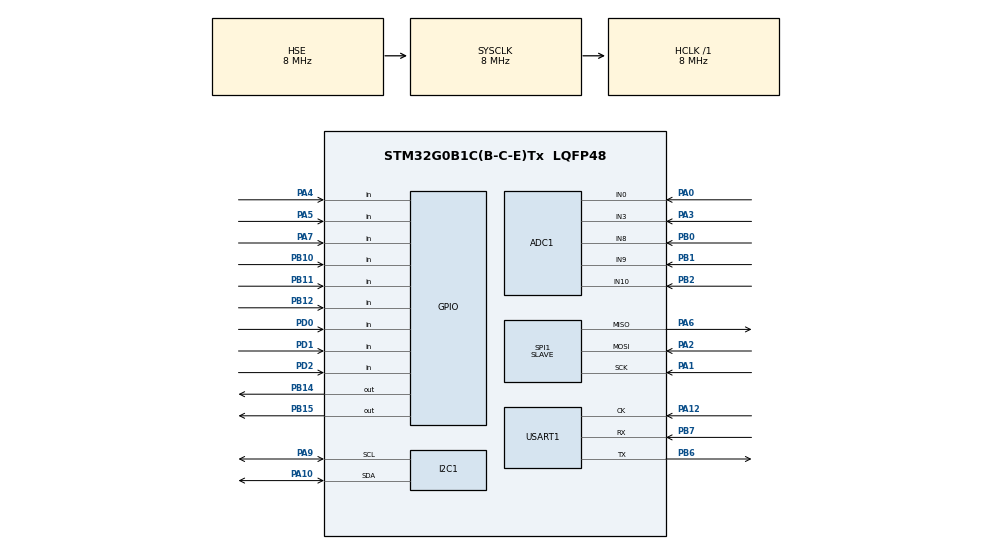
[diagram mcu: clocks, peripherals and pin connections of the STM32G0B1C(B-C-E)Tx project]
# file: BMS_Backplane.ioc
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ADC1.Channel-0\#ChannelRegularConversion=ADC_CHANNEL_0
ADC1.NbrOfConversionFlag=1
ADC1.Rank-0\#ChannelRegularConversion=1
ADC1.SamplingTime-0\#ChannelRegularConversion=ADC_SAMPLINGTIME_COMMON_1
ADC1.SelectedChannel=ADC_CHANNEL_0|ADC_CHANNEL_3|ADC_CHANNEL_8|ADC_CHANNEL_9|ADC_CHANNEL_10
ADC1.master=1
I2C1.Timing=0x00201D2B
Mcu.Family=STM32G0
Mcu.Name=STM32G0B1C(B-C-E)Tx
Mcu.Package=LQFP48
PA0.Mode=IN0
PA0.Signal=ADC1_IN0
PA1.Mode=Full_Duplex_Slave
PA1.Signal=SPI1_SCK
PA10.Mode=I2C
PA10.Signal=I2C1_SDA
PA12\ [PA10].Mode=Synchronous Slave
PA12\ [PA10].Signal=USART1_CK
PA13.Mode=Serial_Wire
PA13.Signal=SYS_SWDIO
PA14-BOOT0.Mode=Serial_Wire
PA14-BOOT0.Signal=SYS_SWCLK
PA2.Mode=Full_Duplex_Slave
PA2.Signal=SPI1_MOSI
PA3.Mode=IN3
PA3.Signal=ADC1_IN3
PA4.Signal=GPIO_Input
PA5.Signal=GPIO_Input
PA6.Mode=Full_Duplex_Slave
PA6.Signal=SPI1_MISO
PA7.Signal=GPIO_Input
PA9.Mode=I2C
PA9.Signal=I2C1_SCL
PB0.Mode=IN8
PB0.Signal=ADC1_IN8
PB1.Mode=IN9
PB1.Signal=ADC1_IN9
PB10.Signal=GPIO_Input
PB11.Signal=GPIO_Input
PB12.Signal=GPIO_Input
PB14.Signal=GPIO_Output
PB15.Signal=GPIO_Output
PB2.Mode=IN10
PB2.Signal=ADC1_IN10
PB6.Mode=Synchronous Slave
PB6.Signal=USART1_TX
PB7.Mode=Synchronous Slave
PB7.Signal=USART1_RX
PC14-OSC32_IN\ (PC14).Mode=LSE-External-Oscillator
PC14-OSC32_IN\ (PC14).Signal=RCC_OSC32_IN
PC15-OSC32_OUT\ (PC15).Mode=LSE-External-Oscillator
PC15-OSC32_OUT\ (PC15).Signal=RCC_OSC32_OUT
PD0.Signal=GPIO_Input
PD1.Signal=GPIO_Input
PD2.Signal=GPIO_Input
PF0-OSC_IN\ (PF0).Mode=HSE-External-Oscillator
PF0-OSC_IN\ (PF0).Signal=RCC_OSC_IN
PF1-OSC_OUT\ (PF1).Mode=HSE-External-Oscillator
PF1-OSC_OUT\ (PF1).Signal=RCC_OSC_OUT
ProjectManager.HeapSize=0x200
ProjectManager.StackSize=0x400
ProjectManager.TargetToolchain=STM32CubeIDE
RCC.ADCFreq_Value=8000000
RCC.AHBFreq_Value=8000000
RCC.CortexFreq_Value=8000000
RCC.EXTERNAL_CLOCK_VALUE=48000
RCC.EnbaleCSS=true
RCC.HCLKFreq_Value=8000000
RCC.HSE_VALUE=8000000
RCC.HSI48_VALUE=48000000
RCC.HSI_VALUE=16000000
RCC.RTCClockSelection=RCC_RTCCLKSOURCE_LSE
RCC.SYSCLKFreq_VALUE=8000000
RCC.SYSCLKSource=RCC_SYSCLKSOURCE_HSE
RCC.USBFreq_Value=48000000
RCC.VCOOutputFreq_Value=128000000
SPI1.Direction=SPI_DIRECTION_2LINES
SPI1.Mode=SPI_MODE_SLAVE
SPI1.VirtualType=VM_SLAVE
USART1.VirtualMode-Synchronous\ Slave=VM_SYNC
VP_RTC_VS_RTC_Activate.Mode=RTC_Enabled
VP_SYS_VS_DBSignals.Mode=DisableDeadBatterySignals
VP_TIM7_VS_ClockSourceINT.Mode=Enable_Timer
board=custom

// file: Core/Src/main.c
/* USER CODE BEGIN Header */
/**
  ******************************************************************************
  * @file           : main.c
  * @brief          : Main program body
  ******************************************************************************
  * @attention
  *
  * Copyright (c) 2026 STMicroelectronics.
  * All rights reserved.
  *
  * This software is licensed under terms that can be found in the LICENSE file
  * in the root directory of this software component.
  * If no LICENSE file comes with this software, it is provided AS-IS.
  *
  ******************************************************************************
  */
/* USER CODE END Header */
#include "main.h"

/* USER CODE BEGIN Includes */
#include "bq76925.h"
#include <stdbool.h>

#include "../../Drivers/Components/tmsc1108/tmcs1108.h"
/* USER CODE END Includes */

/* USER CODE BEGIN PTD */
typedef enum {
  ACQUIRE = 0,
  PROCESS_I,
  PROCESS_V,
} state_t;
/* USER CODE END PTD */

/* USER CODE BEGIN PD */
/* Main loop pacing */
#define MAIN_THREAD_HZ             5U
#define MAIN_THREAD_PERIOD_MS      (1000U / MAIN_THREAD_HZ)

/* ADC setup:
   Your current CubeMX-generated ADC is configured for a single channel.
   If you later enable scan/DMA or add more channels, update these. */
#define ADC_CHANNEL_SIZE           1U
#define HALL_CURRENT_INDEX         0U

/* Optional safety timer */
#define TIMER_EXPIRATION_SECONDS   3600U

/* TODO: set your real BQ76925 7-bit I2C address (left-shifted or not depends on your driver).
   If your driver expects 8-bit address, use (addr<<1). */
#define BQ76925_I2C_GROUP_ADDR      0x0U   //change
/* USER CODE END PD */

ADC_HandleTypeDef hadc1;

I2C_HandleTypeDef hi2c1;

RTC_HandleTypeDef hrtc;

SPI_HandleTypeDef hspi1;

TIM_HandleTypeDef htim7;

USART_HandleTypeDef husart1;

/* USER CODE BEGIN PV */
BQ76925  bq;
TMCS1108 hall;

static volatile uint32_t timer_counter = 0;
static volatile uint8_t  timer_expired_flag = 0;

static uint16_t adc_buffer[ADC_CHANNEL_SIZE] = {0};
/* USER CODE END PV */

void SystemClock_Config(void);
static void MX_GPIO_Init(void);
static void MX_ADC1_Init(void);
static void MX_I2C1_Init(void);
static void MX_USART1_Init(void);
static void MX_RTC_Init(void);
static void MX_TIM7_Init(void);
static void MX_SPI1_Init(void);
/* USER CODE BEGIN PFP */
static uint16_t ReadAdcOnce(void);
static void FailSafe_Shutdown(void);
/* USER CODE END PFP */

/* USER CODE BEGIN 0 */
/* USER CODE BEGIN 0 */
static uint16_t ReadAdcOnce(void)
{
  HAL_ADC_Start(&hadc1);
  HAL_ADC_PollForConversion(&hadc1, HAL_MAX_DELAY);
  uint16_t v = (uint16_t)HAL_ADC_GetValue(&hadc1);
  HAL_ADC_Stop(&hadc1);
  return v;
}

static void FailSafe_Shutdown(void)
{
  TURN_OFF_POWER();
  TURN_ON_STATUS_LED();
}
/* USER CODE END 0 */

int main(void)
{

  /* MCU Configuration--------------------------------------------------------*/

  /* Reset of all peripherals, Initializes the Flash interface and the Systick. */
  HAL_Init();

  /* Configure the system clock */
  SystemClock_Config();

  /* Initialize all configured peripherals */
  MX_GPIO_Init();
  MX_ADC1_Init();
  MX_I2C1_Init();
  MX_USART1_Init();
  MX_RTC_Init();
  MX_TIM7_Init();
  MX_SPI1_Init();
  /* USER CODE BEGIN 2 */
  /* Boot safe states */
   TURN_OFF_STATUS_LED();
   TURN_OFF_POWER();

   /* ADC calibration (STM32G0 family supports it) */
   (void)HAL_ADCEx_Calibration_Start(&hadc1);

   /* Start optional safety timer */
   (void)HAL_TIM_Base_Start_IT(&htim7);

   /* Initialize BQ76925 (I2C) */
   bq.hi2c = &hi2c1;
   bq.i2c_addr = BQ76925_I2C_ADDR_7BIT; /* your driver may want (addr<<1) */
   (void)BQ76925_Init(&bq);             /* or config_BQ76925(&bq, &hi2c1) */

   /* Initialize hall current sensor scaling */
   configure_TMCS1108(&hall, A4_VOLTAGE_CURRENT_SLOPE);

   /* Once comms/sensors are up, enable power rail */
   TURN_ON_POWER();

   state_t state = ACQUIRE;
   uint32_t last_tick = HAL_GetTick();
  /* USER CODE END 2 */

  /* Infinite loop */
  while (1)
  {

    /* USER CODE BEGIN 3 */
	  if ((HAL_GetTick() - last_tick) < MAIN_THREAD_PERIOD_MS) {
	        continue;
	      }
	      last_tick = HAL_GetTick();

	      /* Safety timeout */
	      if (timer_expired_flag) {
	        FailSafe_Shutdown();
	        continue;
	      }

	      /* If you want to hard-trip on an overcurrent alert pin:
	         NOTE: you must confirm active level (HIGH vs LOW) from your schematic.
	         Example (active-high):
	         if (READ_OVERCURRENT_ALERT() == GPIO_PIN_SET) { FailSafe_Shutdown(); continue; }
	      */

	      switch (state)
	      {
	        case ACQUIRE:
	          /* Acquire hall sensor ADC (single channel) */
	          adc_buffer[HALL_CURRENT_INDEX] = ReadAdcOnce();

	          /* Poll/update BQ state */
	          (void)BQ76925_Update(&bq);  /* or update_BQ76925(&bq) */

	          state = PROCESS_I;
	          break;

	        case PROCESS_I:
	          update_TMCS1108(&hall, adc_buffer[HALL_CURRENT_INDEX]);

	          if (hall.OC_flag) {
	            FailSafe_Shutdown();
	            break;
	          }

	          state = PROCESS_V;
	          break;

	        case PROCESS_V:
	          undervoltage_check(&bq);

	          if (bq.UV_flag) {
	            FailSafe_Shutdown();
	            break;
	          }

	          state = ACQUIRE;
	          break;

	        default:
	          state = ACQUIRE;
	          break;
	      }
  }
  /* USER CODE END 3 */
}

void SystemClock_Config(void)
{
  RCC_OscInitTypeDef RCC_OscInitStruct = {0};
  RCC_ClkInitTypeDef RCC_ClkInitStruct = {0};

  /** Configure the main internal regulator output voltage
  */
  HAL_PWREx_ControlVoltageScaling(PWR_REGULATOR_VOLTAGE_SCALE1);

  /** Configure LSE Drive Capability
  */
  HAL_PWR_EnableBkUpAccess();
  __HAL_RCC_LSEDRIVE_CONFIG(RCC_LSEDRIVE_LOW);

  /** Initializes the RCC Oscillators according to the specified parameters
  * in the RCC_OscInitTypeDef structure.
  */
  RCC_OscInitStruct.OscillatorType = RCC_OSCILLATORTYPE_HSE|RCC_OSCILLATORTYPE_LSE;
  RCC_OscInitStruct.HSEState = RCC_HSE_ON;
  RCC_OscInitStruct.LSEState = RCC_LSE_ON;
  RCC_OscInitStruct.PLL.PLLState = RCC_PLL_NONE;
  if (HAL_RCC_OscConfig(&RCC_OscInitStruct) != HAL_OK)
  {
    Error_Handler();
  }

  /** Initializes the CPU, AHB and APB buses clocks
  */
  RCC_ClkInitStruct.ClockType = RCC_CLOCKTYPE_HCLK|RCC_CLOCKTYPE_SYSCLK
                              |RCC_CLOCKTYPE_PCLK1;
  RCC_ClkInitStruct.SYSCLKSource = RCC_SYSCLKSOURCE_HSE;
  RCC_ClkInitStruct.AHBCLKDivider = RCC_SYSCLK_DIV1;
  RCC_ClkInitStruct.APB1CLKDivider = RCC_HCLK_DIV1;

  if (HAL_RCC_ClockConfig(&RCC_ClkInitStruct, FLASH_LATENCY_0) != HAL_OK)
  {
    Error_Handler();
  }

  /** Enables the Clock Security System
  */
  HAL_RCC_EnableCSS();
}

static void MX_ADC1_Init(void)
{

  ADC_ChannelConfTypeDef sConfig = {0};

  /** Configure the global features of the ADC (Clock, Resolution, Data Alignment and number of conversion)
  */
  hadc1.Instance = ADC1;
  hadc1.Init.ClockPrescaler = ADC_CLOCK_SYNC_PCLK_DIV2;
  hadc1.Init.Resolution = ADC_RESOLUTION_12B;
  hadc1.Init.DataAlign = ADC_DATAALIGN_RIGHT;
  hadc1.Init.ScanConvMode = ADC_SCAN_DISABLE;
  hadc1.Init.EOCSelection = ADC_EOC_SINGLE_CONV;
  hadc1.Init.LowPowerAutoWait = DISABLE;
  hadc1.Init.LowPowerAutoPowerOff = DISABLE;
  hadc1.Init.ContinuousConvMode = DISABLE;
  hadc1.Init.NbrOfConversion = 1;
  hadc1.Init.DiscontinuousConvMode = DISABLE;
  hadc1.Init.ExternalTrigConv = ADC_SOFTWARE_START;
  hadc1.Init.ExternalTrigConvEdge = ADC_EXTERNALTRIGCONVEDGE_NONE;
  hadc1.Init.DMAContinuousRequests = DISABLE;
  hadc1.Init.Overrun = ADC_OVR_DATA_PRESERVED;
  hadc1.Init.SamplingTimeCommon1 = ADC_SAMPLETIME_1CYCLE_5;
  hadc1.Init.SamplingTimeCommon2 = ADC_SAMPLETIME_1CYCLE_5;
  hadc1.Init.OversamplingMode = DISABLE;
  hadc1.Init.TriggerFrequencyMode = ADC_TRIGGER_FREQ_HIGH;
  if (HAL_ADC_Init(&hadc1) != HAL_OK)
  {
    Error_Handler();
  }

  /** Configure Regular Channel
  */
  sConfig.Channel = ADC_CHANNEL_0;
  sConfig.Rank = ADC_REGULAR_RANK_1;
  sConfig.SamplingTime = ADC_SAMPLINGTIME_COMMON_1;
  if (HAL_ADC_ConfigChannel(&hadc1, &sConfig) != HAL_OK)
  {
    Error_Handler();
  }

}

static void MX_I2C1_Init(void)
{

  hi2c1.Instance = I2C1;
  hi2c1.Init.Timing = 0x00201D2B;
  hi2c1.Init.OwnAddress1 = 0;
  hi2c1.Init.AddressingMode = I2C_ADDRESSINGMODE_7BIT;
  hi2c1.Init.DualAddressMode = I2C_DUALADDRESS_DISABLE;
  hi2c1.Init.OwnAddress2 = 0;
  hi2c1.Init.OwnAddress2Masks = I2C_OA2_NOMASK;
  hi2c1.Init.GeneralCallMode = I2C_GENERALCALL_DISABLE;
  hi2c1.Init.NoStretchMode = I2C_NOSTRETCH_DISABLE;
  if (HAL_I2C_Init(&hi2c1) != HAL_OK)
  {
    Error_Handler();
  }

  /** Configure Analogue filter
  */
  if (HAL_I2CEx_ConfigAnalogFilter(&hi2c1, I2C_ANALOGFILTER_ENABLE) != HAL_OK)
  {
    Error_Handler();
  }

  /** Configure Digital filter
  */
  if (HAL_I2CEx_ConfigDigitalFilter(&hi2c1, 0) != HAL_OK)
  {
    Error_Handler();
  }

}

static void MX_RTC_Init(void)
{

  /** Initialize RTC Only
  */
  hrtc.Instance = RTC;
  hrtc.Init.HourFormat = RTC_HOURFORMAT_24;
  hrtc.Init.AsynchPrediv = 127;
  hrtc.Init.SynchPrediv = 255;
  hrtc.Init.OutPut = RTC_OUTPUT_DISABLE;
  hrtc.Init.OutPutRemap = RTC_OUTPUT_REMAP_NONE;
  hrtc.Init.OutPutPolarity = RTC_OUTPUT_POLARITY_HIGH;
  hrtc.Init.OutPutType = RTC_OUTPUT_TYPE_OPENDRAIN;
  hrtc.Init.OutPutPullUp = RTC_OUTPUT_PULLUP_NONE;
  if (HAL_RTC_Init(&hrtc) != HAL_OK)
  {
    Error_Handler();
  }

}

static void MX_SPI1_Init(void)
{

  /* SPI1 parameter configuration*/
  hspi1.Instance = SPI1;
  hspi1.Init.Mode = SPI_MODE_SLAVE;
  hspi1.Init.Direction = SPI_DIRECTION_2LINES;
  hspi1.Init.DataSize = SPI_DATASIZE_4BIT;
  hspi1.Init.CLKPolarity = SPI_POLARITY_LOW;
  hspi1.Init.CLKPhase = SPI_PHASE_1EDGE;
  hspi1.Init.NSS = SPI_NSS_SOFT;
  hspi1.Init.FirstBit = SPI_FIRSTBIT_MSB;
  hspi1.Init.TIMode = SPI_TIMODE_DISABLE;
  hspi1.Init.CRCCalculation = SPI_CRCCALCULATION_DISABLE;
  hspi1.Init.CRCPolynomial = 7;
  hspi1.Init.CRCLength = SPI_CRC_LENGTH_DATASIZE;
  hspi1.Init.NSSPMode = SPI_NSS_PULSE_DISABLE;
  if (HAL_SPI_Init(&hspi1) != HAL_OK)
  {
    Error_Handler();
  }

}

static void MX_TIM7_Init(void)
{

  TIM_MasterConfigTypeDef sMasterConfig = {0};

  htim7.Instance = TIM7;
  htim7.Init.Prescaler = 0;
  htim7.Init.CounterMode = TIM_COUNTERMODE_UP;
  htim7.Init.Period = 65535;
  htim7.Init.AutoReloadPreload = TIM_AUTORELOAD_PRELOAD_DISABLE;
  if (HAL_TIM_Base_Init(&htim7) != HAL_OK)
  {
    Error_Handler();
  }
  sMasterConfig.MasterOutputTrigger = TIM_TRGO_RESET;
  sMasterConfig.MasterSlaveMode = TIM_MASTERSLAVEMODE_DISABLE;
  if (HAL_TIMEx_MasterConfigSynchronization(&htim7, &sMasterConfig) != HAL_OK)
  {
    Error_Handler();
  }

}

static void MX_USART1_Init(void)
{

  husart1.Instance = USART1;
  husart1.Init.BaudRate = 115200;
  husart1.Init.WordLength = USART_WORDLENGTH_8B;
  husart1.Init.StopBits = USART_STOPBITS_1;
  husart1.Init.Parity = USART_PARITY_NONE;
  husart1.Init.Mode = USART_MODE_TX_RX;
  husart1.Init.CLKPolarity = USART_POLARITY_LOW;
  husart1.Init.CLKPhase = USART_PHASE_1EDGE;
  husart1.Init.CLKLastBit = USART_LASTBIT_DISABLE;
  husart1.Init.ClockPrescaler = USART_PRESCALER_DIV1;
  husart1.SlaveMode = USART_SLAVEMODE_ENABLE;
  if (HAL_USART_Init(&husart1) != HAL_OK)
  {
    Error_Handler();
  }
  if (HAL_USARTEx_SetTxFifoThreshold(&husart1, USART_TXFIFO_THRESHOLD_1_8) != HAL_OK)
  {
    Error_Handler();
  }
  if (HAL_USARTEx_SetRxFifoThreshold(&husart1, USART_RXFIFO_THRESHOLD_1_8) != HAL_OK)
  {
    Error_Handler();
  }
  if (HAL_USARTEx_DisableFifoMode(&husart1) != HAL_OK)
  {
    Error_Handler();
  }
  if (HAL_USARTEx_EnableSlaveMode(&husart1) != HAL_OK)
  {
    Error_Handler();
  }

}

static void MX_GPIO_Init(void)
{
  GPIO_InitTypeDef GPIO_InitStruct = {0};

  /* GPIO Ports Clock Enable */
  __HAL_RCC_GPIOC_CLK_ENABLE();
  __HAL_RCC_GPIOF_CLK_ENABLE();
  __HAL_RCC_GPIOA_CLK_ENABLE();
  __HAL_RCC_GPIOB_CLK_ENABLE();
  __HAL_RCC_GPIOD_CLK_ENABLE();

  /*Configure GPIO pin Output Level */
  HAL_GPIO_WritePin(GPIOB, GPIO_PIN_14|GPIO_PIN_15, GPIO_PIN_RESET);

  /*Configure GPIO pins : PA4 PA5 PA7 */
  GPIO_InitStruct.Pin = GPIO_PIN_4|GPIO_PIN_5|GPIO_PIN_7;
  GPIO_InitStruct.Mode = GPIO_MODE_INPUT;
  GPIO_InitStruct.Pull = GPIO_NOPULL;
  HAL_GPIO_Init(GPIOA, &GPIO_InitStruct);

  /*Configure GPIO pins : PB10 PB11 PB12 */
  GPIO_InitStruct.Pin = GPIO_PIN_10|GPIO_PIN_11|GPIO_PIN_12;
  GPIO_InitStruct.Mode = GPIO_MODE_INPUT;
  GPIO_InitStruct.Pull = GPIO_NOPULL;
  HAL_GPIO_Init(GPIOB, &GPIO_InitStruct);

  /*Configure GPIO pins : PB14 PB15 */
  GPIO_InitStruct.Pin = GPIO_PIN_14|GPIO_PIN_15;
  GPIO_InitStruct.Mode = GPIO_MODE_OUTPUT_PP;
  GPIO_InitStruct.Pull = GPIO_NOPULL;
  GPIO_InitStruct.Speed = GPIO_SPEED_FREQ_LOW;
  HAL_GPIO_Init(GPIOB, &GPIO_InitStruct);

  /*Configure GPIO pins : PD0 PD1 PD2 */
  GPIO_InitStruct.Pin = GPIO_PIN_0|GPIO_PIN_1|GPIO_PIN_2;
  GPIO_InitStruct.Mode = GPIO_MODE_INPUT;
  GPIO_InitStruct.Pull = GPIO_NOPULL;
  HAL_GPIO_Init(GPIOD, &GPIO_InitStruct);

}

/* USER CODE BEGIN 4 */
void HAL_TIM_PeriodElapsedCallback(TIM_HandleTypeDef *htim)
{
  if (htim->Instance == TIM7) {
    /* NOTE: TIM7 timing currently not 1 Hz. Adjust prescaler/period in CubeMX if needed. */
    if (timer_counter >= TIMER_EXPIRATION_SECONDS) {
      timer_expired_flag = 1U;
    }
    timer_counter++;
  }
}
/* USER CODE END 4 */

void Error_Handler(void)
{
  /* USER CODE BEGIN Error_Handler_Debug */
	TURN_ON_STATUS_LED();
	HAL_Delay(1000);
	TURN_OFF_STATUS_LED();
	HAL_Delay(1000);

	HAL_NVIC_SystemReset();
  /* USER CODE END Error_Handler_Debug */
}

#ifdef  USE_FULL_ASSERT
/**
  * @brief  Reports the name of the source file and the source line number
  *         where the assert_param error has occurred.
  * @param  file: pointer to the source file name
  * @param  line: assert_param error line source number
  * @retval None
  */
void assert_failed(uint8_t *file, uint32_t line)
{
  /* USER CODE BEGIN 6 */
	FailSafe_Shutdown();
	  __disable_irq();
	  while (1) {
	    /* trap */
	  }
  /* User can add his own implementation to report the file name and line number,
     ex: printf("Wrong parameters value: file %s on line %d\r\n", file, line) */
  /* USER CODE END 6 */
}
#endif /* USE_FULL_ASSERT */
